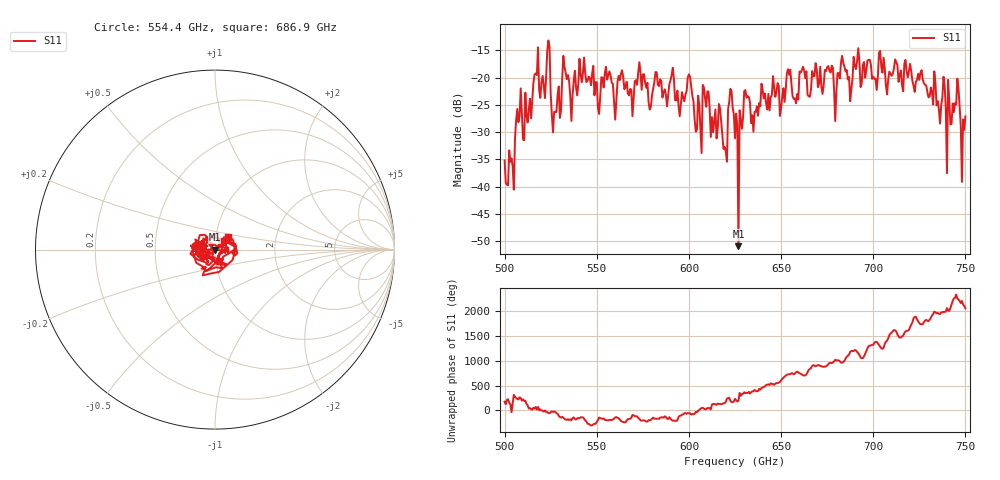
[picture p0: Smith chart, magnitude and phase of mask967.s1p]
!Created with skrf (http://scikit-rf.org).
# GHz S MA R 50.0
!freq magS11 angS11
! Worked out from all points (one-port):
!   401 points, 500 GHz to 750 GHz, reference 50 ohm
!   lowest |S11| = -50.9 dB at 626.9 GHz (marker M1), VSWR 1.01, Z = 49.7 - j0.072 ohm
!   |S11| at or under -10 dB: start of sweep to end of sweep
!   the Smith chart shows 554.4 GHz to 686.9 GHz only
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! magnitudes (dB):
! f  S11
! 500 GHz  -35.2
! 513.8 GHz  -23.9
! 516.9 GHz  -19.2
! 520.6 GHz  -19.7
! 523.8 GHz  -13.2
! 526.9 GHz  -26.3
! 531.2 GHz  -20.1
! 562.5 GHz  -20.5
! 579.4 GHz  -25.3
! 590.6 GHz  -19.5
! 593.8 GHz  -22.4
! 600.6 GHz  -19.9
! 605.6 GHz  -25.0
! 608.8 GHz  -23.8
! 619.4 GHz  -32.7
! 622.5 GHz  -22.1
! 625 GHz  -31.2
! 626.9 GHz  -50.9
! 631.2 GHz  -23.7
! 635 GHz  -29.9
! 656.2 GHz  -23.4
! 676.2 GHz  -18.7
! 680 GHz  -22.6
! 683.8 GHz  -17.3
! 687.5 GHz  -24.3
! 690.6 GHz  -18.4
! 718.8 GHz  -19.9
! 750 GHz  -27.1
